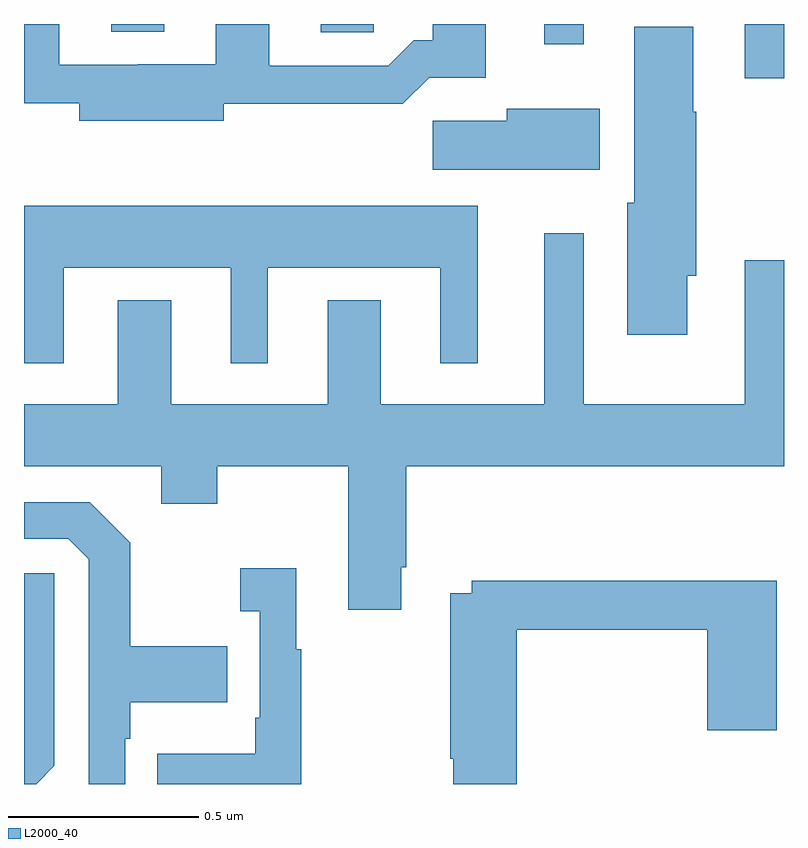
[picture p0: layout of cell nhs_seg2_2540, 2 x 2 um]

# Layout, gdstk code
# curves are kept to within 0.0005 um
import gdstk
lib = gdstk.Library(unit=1e-6, precision=1e-09)
def R(c, l, rs):  # rectangles x0, y0, x1, y1
    for r in rs: c.add(gdstk.rectangle(r[:2], r[2:], *l))
def P(c, l, *ps):  # polygons
    for p in ps: c.add(gdstk.Polygon(p, *l))
L2000_40 = (2000, 40)

nhs_seg2_2540 = lib.new_cell('nhs_seg2_2540')
R(nhs_seg2_2540, L2000_40, [(143.897,648.657,144,648.8), (143.369,648.747,143.473,648.8), (142.781,648.778,142.92,648.8), (142.229,648.779,142.369,648.8)])
P(nhs_seg2_2540, L2000_40, [(142.525,648.59),(142.997,648.59),(143.066,648.659),(143.215,648.659),(143.215,648.8),(143.075,648.8),(143.075,648.757),(143.026,648.757),(142.959,648.69),(142.645,648.69),(142.645,648.8),(142.505,648.8),(142.505,648.694),(142.093,648.693),(142.093,648.8),(142,648.8),(142,648.592),(142.145,648.592),(142.145,648.545),(142.525,648.545)],
  [(143.746,648.138),(143.769,648.138),(143.769,648.569),(143.761,648.569),(143.761,648.793),(143.606,648.793),(143.606,648.33),(143.588,648.33),(143.588,647.982),(143.746,647.982)],
  [(143.515,648.577),(143.27,648.577),(143.27,648.545),(143.076,648.545),(143.076,648.416),(143.515,648.416)],
  [(142.105,648.158),(142.544,648.158),(142.544,647.907),(142.642,647.907),(142.642,648.158),(143.096,648.158),(143.096,647.907),(143.194,647.907),(143.194,648.322),(142,648.322),(142,647.907),(142.105,647.907)],
  [(142.993,647.371),(143.006,647.371),(143.006,647.636),(144,647.636),(144,648.178),(143.897,648.178),(143.897,647.8),(143.473,647.8),(143.473,648.25),(143.369,648.25),(143.369,647.8),(142.939,647.8),(142.939,648.073),(142.799,648.073),(142.799,647.8),(142.387,647.8),(142.387,648.073),(142.247,648.073),(142.247,647.8),(142,647.8),(142,647.636),(142.361,647.636),(142.361,647.537),(142.509,647.537),(142.509,647.636),(142.853,647.636),(142.853,647.259),(142.993,647.259)],
  [(142.266,646.919),(142.279,646.919),(142.279,647.015),(142.535,647.015),(142.535,647.163),(142.279,647.163),(142.279,647.435),(142.173,647.541),(142,647.541),(142,647.445),(142.116,647.445),(142.17,647.391),(142.17,646.8),(142.266,646.8)],
  [(142.729,647.155),(142.717,647.155),(142.717,647.368),(142.569,647.368),(142.569,647.255),(142.62,647.255),(142.62,646.975),(142.608,646.975),(142.608,646.879),(142.351,646.879),(142.351,646.8),(142.729,646.8)],
  [(142.08,646.848),(142.08,647.355),(142,647.355),(142,646.8),(142.032,646.8)],
  [(143.297,647.206),(143.798,647.206),(143.798,646.941),(143.981,646.941),(143.981,647.335),(143.178,647.335),(143.178,647.302),(143.122,647.302),(143.122,646.867),(143.129,646.867),(143.129,646.8),(143.297,646.8)])

lib.write_gds('nhs_seg2_2540.gds')
